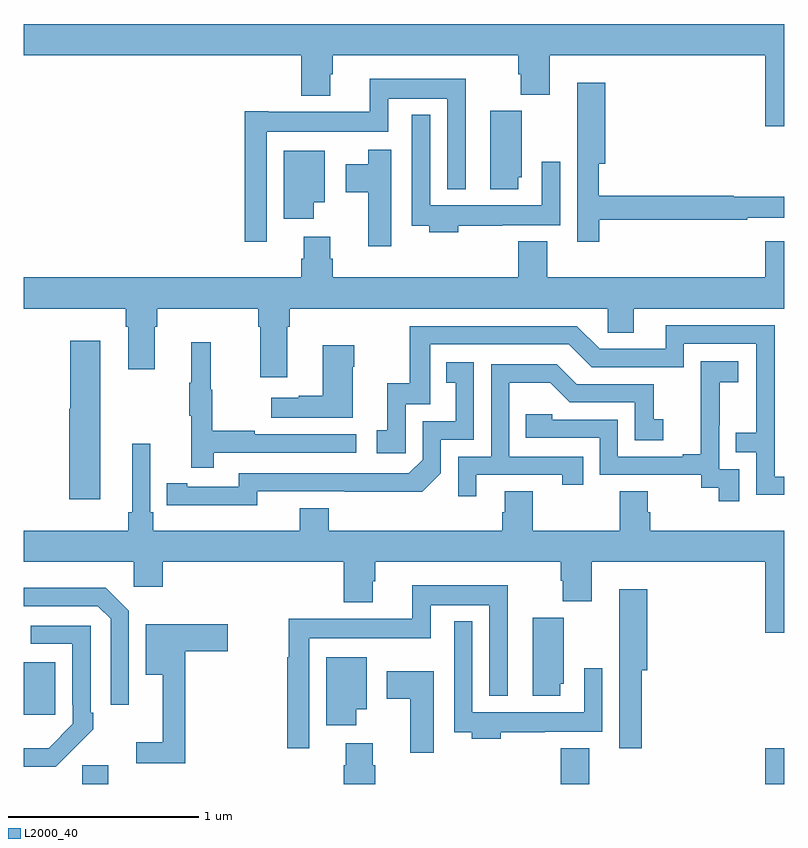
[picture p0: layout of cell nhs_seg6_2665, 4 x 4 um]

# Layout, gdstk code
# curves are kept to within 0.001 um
import gdstk
lib = gdstk.Library(unit=1e-6, precision=1e-09)
def R(c, l, rs):  # rectangles x0, y0, x1, y1
    for r in rs: c.add(gdstk.rectangle(r[:2], r[2:], *l))
def P(c, l, *ps):  # polygons
    for p in ps: c.add(gdstk.Polygon(p, *l))
L2000_40 = (2000, 40)

nhs_seg6_2665 = lib.new_cell('nhs_seg6_2665')
R(nhs_seg6_2665, L2000_40, [(269.307,947.5,269.446,947.598), (271.823,947.5,271.975,947.689), (272.9,947.5,273,947.689), (269,947.865,269.167,948.139)])
P(nhs_seg6_2665, L2000_40, [(269,951.332),(270.461,951.332),(270.461,951.119),(270.613,951.119),(270.613,951.231),(270.626,951.231),(270.626,951.332),(271.601,951.332),(271.601,951.233),(271.613,951.233),(271.613,951.124),(271.766,951.124),(271.766,951.332),(272.9,951.332),(272.9,950.958),(273,950.958),(273,951.496),(269,951.496)],
  [(270.279,950.93),(270.918,950.93),(270.918,951.104),(271.227,951.104),(271.227,950.627),(271.324,950.627),(271.324,951.208),(270.821,951.208),(270.821,951.034),(270.286,951.034),(270.286,951.037),(270.163,951.037),(270.163,950.352),(270.279,950.352)],
  [(272.027,950.466),(272.804,950.466),(272.804,950.478),(273,950.478),(273,950.587),(272.733,950.587),(272.733,950.594),(272.023,950.594),(272.023,950.762),(272.057,950.762),(272.057,951.187),(271.91,951.187),(271.91,950.866),(271.911,950.866),(271.911,950.352),(272.027,950.352)],
  [(271.6,950.691),(271.618,950.691),(271.618,951.039),(271.454,951.039),(271.454,950.628),(271.6,950.628)],
  [(271.286,950.436),(271.517,950.436),(271.517,950.438),(271.821,950.438),(271.821,950.773),(271.725,950.773),(271.725,950.542),(271.137,950.542),(271.137,951.019),(271.041,951.019),(271.041,950.436),(271.133,950.436),(271.133,950.402),(271.286,950.402)],
  [(270.934,950.836),(270.812,950.836),(270.812,950.758),(270.695,950.758),(270.695,950.611),(270.812,950.611),(270.812,950.328),(270.934,950.328)],
  [(270.526,950.558),(270.583,950.558),(270.583,950.83),(270.368,950.83),(270.368,950.472),(270.526,950.472)],
  [(270.385,949.904),(270.398,949.904),(270.398,950),(272.07,950),(272.07,949.873),(272.209,949.873),(272.209,950),(273,950),(273,950.353),(272.9,950.353),(272.9,950.164),(271.753,950.164),(271.753,950.353),(271.601,950.353),(271.601,950.164),(270.626,950.164),(270.626,950.262),(270.613,950.262),(270.613,950.377),(270.473,950.377),(270.473,950.262),(270.461,950.262),(270.461,950.164),(269,950.164),(269,950),(269.537,950),(269.537,949.904),(269.549,949.904),(269.549,949.68),(269.689,949.68),(269.689,949.904),(269.702,949.904),(269.702,950),(270.233,950),(270.233,949.904),(270.245,949.904),(270.245,949.638),(270.385,949.638)],
  [(273,949.116),(272.949,949.116),(272.949,949.911),(272.375,949.911),(272.375,949.788),(272.028,949.788),(271.908,949.908),(271.029,949.908),(271.029,949.606),(270.911,949.606),(270.911,949.359),(270.858,949.359),(270.858,949.239),(271.008,949.239),(271.008,949.497),(271.137,949.497),(271.137,949.812),(271.866,949.812),(271.986,949.692),(272.472,949.692),(272.472,949.815),(272.853,949.815),(272.853,949.346),(272.743,949.346),(272.743,949.245),(272.853,949.245),(272.853,949.02),(273,949.02)],
  [(269.404,949.831),(269.246,949.831),(269.246,949.473),(269.24,949.473),(269.24,948.996),(269.404,948.996)],
  [(269.999,949.242),(270.748,949.242),(270.748,949.338),(270.215,949.338),(270.215,949.358),(269.992,949.358),(269.992,949.572),(269.984,949.572),(269.984,949.822),(269.882,949.822),(269.882,949.609),(269.871,949.609),(269.871,949.435),(269.882,949.435),(269.882,949.164),(269.999,949.164)],
  [(270.73,949.694),(270.738,949.694),(270.738,949.807),(270.572,949.807),(270.572,949.541),(270.446,949.541),(270.446,949.531),(270.303,949.531),(270.303,949.427),(270.73,949.427)],
  [(272.763,949.155),(272.658,949.155),(272.658,949.385),(272.66,949.385),(272.66,949.613),(272.758,949.613),(272.758,949.723),(272.56,949.723),(272.56,949.517),(272.561,949.517),(272.561,949.234),(272.465,949.234),(272.465,949.221),(272.124,949.221),(272.124,949.416),(271.779,949.416),(271.779,949.443),(271.639,949.443),(271.639,949.32),(272.028,949.32),(272.028,949.125),(272.562,949.125),(272.562,949.057),(272.655,949.057),(272.655,948.987),(272.763,948.987)],
  [(270.228,949.038),(271.096,949.037),(271.194,949.134),(271.194,949.311),(271.368,949.311),(271.368,949.717),(271.222,949.717),(271.222,949.611),(271.271,949.611),(271.271,949.407),(271.098,949.407),(271.098,949.206),(271.026,949.134),(270.132,949.134),(270.132,949.062),(269.86,949.062),(269.86,949.082),(269.752,949.082),(269.752,948.966),(270.228,948.965)],
  [(271.381,949.125),(271.832,949.125),(271.832,949.074),(271.943,949.074),(271.943,949.221),(271.554,949.221),(271.554,949.61),(271.768,949.61),(271.872,949.506),(272.214,949.506),(272.214,949.308),(272.362,949.308),(272.362,949.417),(272.313,949.417),(272.313,949.602),(271.909,949.602),(271.804,949.707),(271.458,949.707),(271.458,949.221),(271.284,949.221),(271.284,949.014),(271.381,949.014)],
  [(273,948.832),(272.294,948.832),(272.294,948.93),(272.281,948.93),(272.281,949.04),(272.134,949.04),(272.134,948.832),(271.677,948.832),(271.677,949.04),(271.529,949.04),(271.529,948.93),(271.517,948.93),(271.517,948.832),(270.605,948.832),(270.605,948.949),(270.452,948.949),(270.452,948.832),(269.681,948.832),(269.681,948.928),(269.667,948.928),(269.667,949.288),(269.57,949.288),(269.57,948.928),(269.551,948.928),(269.551,948.832),(269,948.832),(269,948.668),(269.58,948.668),(269.58,948.537),(269.732,948.537),(269.732,948.668),(270.683,948.668),(270.683,948.455),(270.835,948.455),(270.835,948.567),(270.848,948.567),(270.848,948.668),(271.823,948.668),(271.823,948.569),(271.835,948.569),(271.835,948.46),(271.988,948.46),(271.988,948.668),(272.9,948.668),(272.9,948.294),(273,948.294)],
  [(270.501,948.266),(271.14,948.266),(271.14,948.44),(271.449,948.44),(271.449,947.963),(271.546,947.963),(271.546,948.544),(271.043,948.544),(271.043,948.37),(270.393,948.37),(270.393,948.166),(270.385,948.166),(270.385,947.688),(270.501,947.688)],
  [(269.553,948.411),(269.432,948.532),(269,948.532),(269,948.435),(269.391,948.435),(269.457,948.369),(269.457,947.916),(269.553,947.916)],
  [(272.249,948.098),(272.279,948.098),(272.279,948.523),(272.132,948.523),(272.132,948.202),(272.133,948.202),(272.133,947.688),(272.249,947.688)],
  [(271.822,948.027),(271.84,948.027),(271.84,948.375),(271.676,948.375),(271.676,947.964),(271.822,947.964)],
  [(271.508,947.772),(271.739,947.772),(271.739,947.774),(272.043,947.774),(272.043,948.109),(271.947,948.109),(271.947,947.878),(271.359,947.878),(271.359,948.355),(271.263,948.355),(271.263,947.772),(271.355,947.772),(271.355,947.738),(271.508,947.738)],
  [(269.849,948.197),(270.073,948.197),(270.073,948.339),(269.642,948.339),(269.642,948.074),(269.732,948.074),(269.732,947.719),(269.592,947.719),(269.592,947.61),(269.849,947.61)],
  [(269.261,947.683),(269.262,947.682),(269.367,947.787),(269.367,947.875),(269.352,947.875),(269.352,948.333),(269.037,948.333),(269.037,948.237),(269.256,948.237),(269.256,947.917),(269.259,947.917),(269.259,947.817),(269.131,947.689),(269,947.688),(269,947.592),(269.17,947.592)],
  [(270.748,947.894),(270.805,947.894),(270.805,948.166),(270.59,948.166),(270.59,947.808),(270.748,947.808)],
  [(271.156,948.094),(270.909,948.094),(270.909,947.947),(271.034,947.947),(271.034,947.664),(271.156,947.664)],
  [(270.848,947.598),(270.835,947.598),(270.835,947.713),(270.695,947.713),(270.695,947.598),(270.683,947.598),(270.683,947.5),(270.848,947.5)])

lib.write_gds('nhs_seg6_2665.gds')
